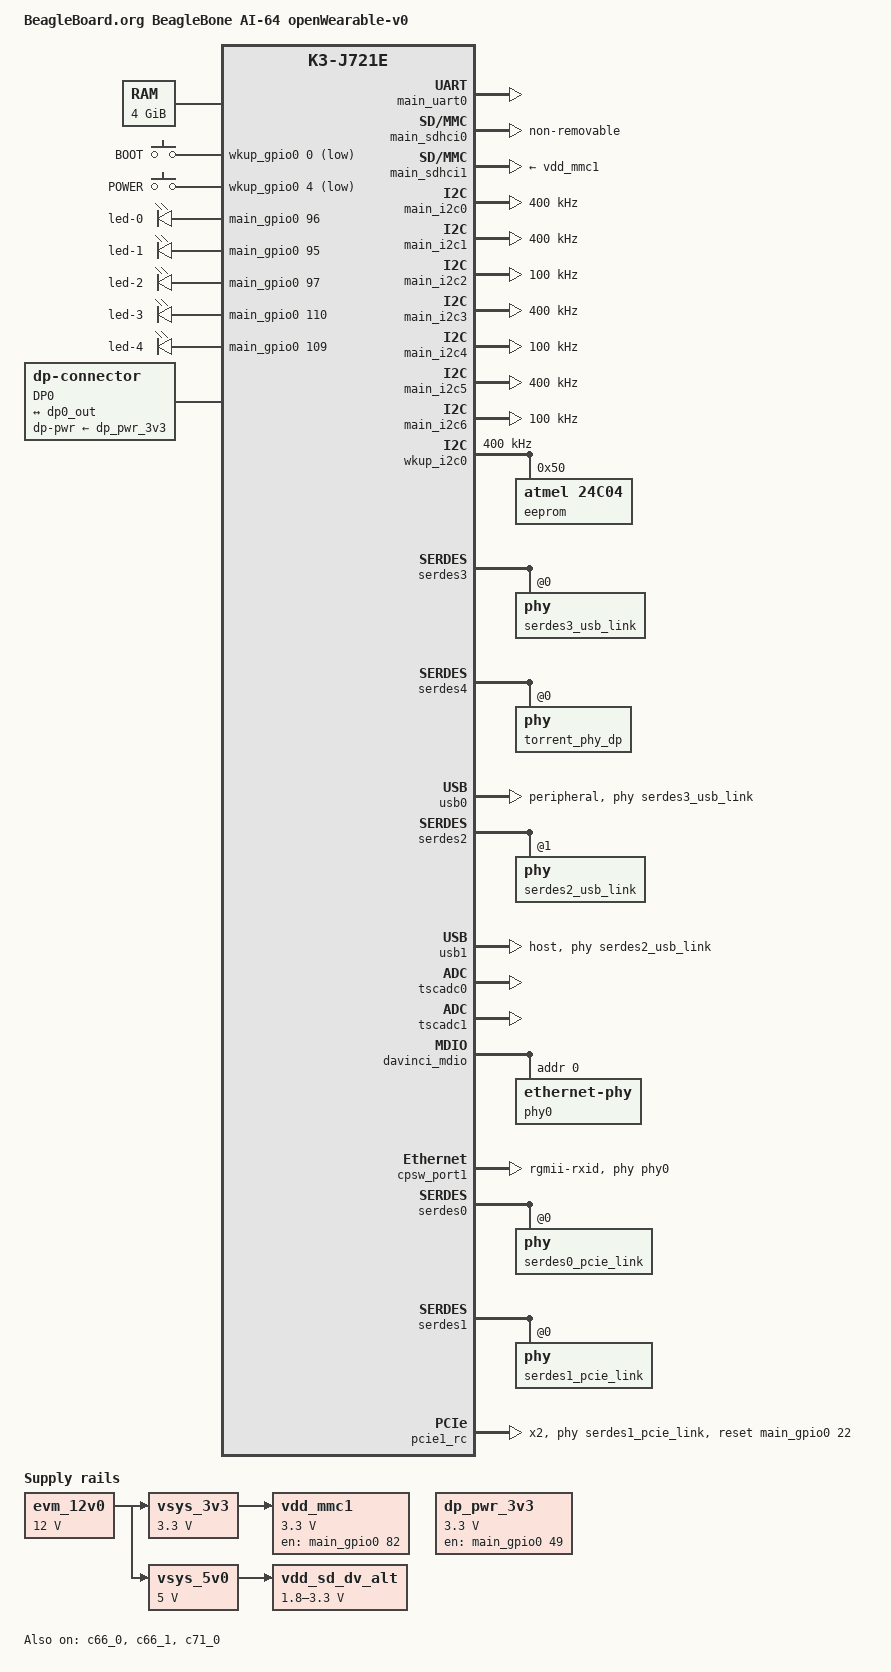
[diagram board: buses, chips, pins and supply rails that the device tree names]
// SPDX-License-Identifier: GPL-2.0-only OR MIT
/*
 * https://beagleboard.org/ai-64
 * Copyright (C) 2022-2024 Texas Instruments Incorporated - https://www.ti.com/
 * Copyright (C) 2022-2024 Jason Kridner, BeagleBoard.org Foundation
 * Copyright (C) 2022-2024 Robert Nelson, BeagleBoard.org Foundation
 */

/dts-v1/;

#include "k3-j721e.dtsi"
#include <dt-bindings/gpio/gpio.h>
#include <dt-bindings/input/input.h>
#include <dt-bindings/leds/common.h>
#include <dt-bindings/net/ti-dp83867.h>
#include <dt-bindings/phy/phy-cadence.h>
#include "k3-j721e-beagleboneai64-pinmux.dtsi"

/ {
	compatible = "beagle,j721e-beagleboneai64", "ti,j721e";
	model = "BeagleBoard.org BeagleBone AI-64 openWearable-v0";

	aliases {
		serial0 = &wkup_uart0;
		serial2 = &main_uart0;
		mmc0 = &main_sdhci0;
		mmc1 = &main_sdhci1;
		i2c0 = &wkup_i2c0;
		i2c1 = &main_i2c6;
		i2c2 = &main_i2c2;
		i2c3 = &main_i2c4;
	};

	chosen {
		stdout-path = "serial2:115200n8";
	};

	memory@80000000 {
		device_type = "memory";
		/* 4G RAM */
		reg = <0x00000000 0x80000000 0x00000000 0x80000000>,
		      <0x00000008 0x80000000 0x00000000 0x80000000>;
	};

	reserved_memory: reserved-memory {
		#address-cells = <2>;
		#size-cells = <2>;
		ranges;

		secure_ddr: optee@9e800000 {
			reg = <0x00 0x9e800000 0x00 0x01800000>;
			no-map;
		};

		mcu_r5fss0_core0_dma_memory_region: r5f-dma-memory@a0000000 {
			compatible = "shared-dma-pool";
			reg = <0x00 0xa0000000 0x00 0x100000>;
			no-map;
		};

		mcu_r5fss0_core0_memory_region: r5f-memory@a0100000 {
			compatible = "shared-dma-pool";
			reg = <0x00 0xa0100000 0x00 0xf00000>;
			no-map;
		};

		mcu_r5fss0_core1_dma_memory_region: r5f-dma-memory@a1000000 {
			compatible = "shared-dma-pool";
			reg = <0x00 0xa1000000 0x00 0x100000>;
			no-map;
		};

		mcu_r5fss0_core1_memory_region: r5f-memory@a1100000 {
			compatible = "shared-dma-pool";
			reg = <0x00 0xa1100000 0x00 0xf00000>;
			no-map;
		};

		main_r5fss0_core0_dma_memory_region: r5f-dma-memory@a2000000 {
			compatible = "shared-dma-pool";
			reg = <0x00 0xa2000000 0x00 0x100000>;
			no-map;
		};

		/* OW R5F (main_r5fss0) carveout. OW firmware runs code from ATCM, so this region
		 * holds only the resource table -- 1 MB (matching the linker CARVEOUT in
		 * R5F_j721e.ld.in) is plenty. The old 31 MB was the vision mcu2_0 .bss map. */
		main_r5fss0_core0_memory_region: r5f-memory@a2100000 {
			compatible = "shared-dma-pool";
			reg = <0x00 0xa2100000 0x00 0x100000>;
			no-map;
		};

		main_r5fss1_core0_dma_memory_region: r5f-dma-memory@a4000000 {
			compatible = "shared-dma-pool";
			reg = <0x00 0xa4000000 0x00 0x100000>;
			no-map;
		};

		main_r5fss1_core0_memory_region: r5f-memory@a4100000 {
			compatible = "shared-dma-pool";
			reg = <0x00 0xa4100000 0x00 0xf00000>;
			no-map;
		};

		main_r5fss1_core1_dma_memory_region: r5f-dma-memory@a5000000 {
			compatible = "shared-dma-pool";
			reg = <0x00 0xa5000000 0x00 0x100000>;
			no-map;
		};

		main_r5fss1_core1_memory_region: r5f-memory@a5100000 {
			compatible = "shared-dma-pool";
			reg = <0x00 0xa5100000 0x00 0xf00000>;
			no-map;
		};

		c66_0_dma_memory_region: c66-dma-memory@a6000000 {
			compatible = "shared-dma-pool";
			reg = <0x00 0xa6000000 0x00 0x100000>;
			no-map;
		};

		c66_0_memory_region: c66-memory@a6100000 {
			compatible = "shared-dma-pool";
			reg = <0x00 0xa6100000 0x00 0xf00000>;
			no-map;
		};

		c66_1_dma_memory_region: c66-dma-memory@a7000000 {
			compatible = "shared-dma-pool";
			reg = <0x00 0xa7000000 0x00 0x100000>;
			no-map;
		};

		c66_1_memory_region: c66-memory@a7100000 {
			compatible = "shared-dma-pool";
			reg = <0x00 0xa7100000 0x00 0xf00000>;
			no-map;
		};

		/*
		 * TIDL NOTE: in the *basic-IPC* map these two A8 carveouts were the C7x's
		 * (stock 9.02 firmware). In the 10.1 vision_apps map the C7x lives at
		 * 0xb2x (see c71_0_*_tidl below) and 0xa8x belongs to **c6x_1** — verified
		 * against the 10.01.00.04 vx_app_rtos_linux_c6x_1.out ELF (resource_table
		 * at 0xa8100000). Relabelled c71_0_* -> c66_0_tidl_* and now referenced by
		 * &c66_0 below. The old a6/a7 c66 pairs are kept (orphaned) as rollback.
		 */
		c66_0_tidl_dma_memory_region: c66-dma-memory@a8000000 {
			compatible = "shared-dma-pool";
			reg = <0x00 0xa8000000 0x00 0x100000>;
			no-map;
		};

		c66_0_tidl_memory_region: c66-memory@a8100000 {
			compatible = "shared-dma-pool";
			reg = <0x00 0xa8100000 0x00 0xf00000>;
			no-map;
		};

		/* c6x_2 in the 10.1 vision_apps map (vx_app_rtos_linux_c6x_2.out links
		 * at 0xa9100000). This 16 MB was previously free Linux RAM. */
		c66_1_tidl_dma_memory_region: c66-dma-memory@a9000000 {
			compatible = "shared-dma-pool";
			reg = <0x00 0xa9000000 0x00 0x100000>;
			no-map;
		};

		c66_1_tidl_memory_region: c66-memory@a9100000 {
			compatible = "shared-dma-pool";
			reg = <0x00 0xa9100000 0x00 0xf00000>;
			no-map;
		};

		/*
		 * TIDL: grown 28 MB -> 32 MB (0x01c00000 -> 0x02000000) to match the
		 * vision_apps IPC-vring region the 10.1 C7x firmware expects. The extra
		 * 4 MB (0xabc00000..0xac000000) was previously free Linux RAM. Makes
		 * 0xaa000000..0xac000000 contiguous up to the new rtos-log region.
		 */
		rtos_ipc_memory_region: ipc-memories@aa000000 {
			reg = <0x00 0xaa000000 0x00 0x02000000>;
			alignment = <0x1000>;
			no-map;
		};

		/* =====================================================================
		 * TIDL / vision_apps C7x carveouts (PSDK 10.01.00.04, J721E).
		 * ADDED block — required for the 10.1 C7x firmware to boot + run TIDL.
		 * Source map: app_mem_map.h (vision_apps platform/j721e/rtos), see
		 * docs/milestone-1-hetero/j721e-visionapps-reserved-memory.dts.
		 * Layout is fully contiguous 0xaa000000 -> 0xd8000000.
		 *
		 *   MUST (boot firmware to heartbeat): rtos-log, tiovx-obj-desc,
		 *        c71_0_dma_tidl, c71_0_tidl  (+ the 32 MB ipc above)
		 *   ALSO for inference (TIDL graph/tensors): app-fileio, tiovx-log-rt,
		 *        vision_apps_shared-memories (dma-heap), c7x_1_scratch + c7x_1_heap (high DDR)
		 *
		 * UPDATE (full fleet): the 10.1 C7x firmware never comes up alone — it
		 * waits for IPC sync with its vision_apps siblings (mcu2_0, mcu2_1,
		 * c6x_1, c6x_2). So those cores now run too, and their per-core DDR
		 * heaps (0xd9.. -> 0xe4.., NOBITS runtime regions from the firmware
		 * ELFs) are reserved below. Inter-core ethernet remains omitted.
		 * ===================================================================== */

		/* remote-core trace log (mmap'd by the A72 tivision_apps runtime) */
		rtos_log_memory_region: rtos-log@ac000000 {
			reg = <0x00 0xac000000 0x00 0x00040000>;	/* 256 KB */
			no-map;
		};

		/* OpenVX object descriptors (non-cached) */
		tiovx_obj_desc_memory_region: tiovx-obj-desc@ac040000 {
			reg = <0x00 0xac040000 0x00 0x03fc0000>;	/* 63.75 MB */
			no-map;
		};

		/* remote-core file I/O */
		app_fileio_memory_region: app-fileio@b0000000 {
			reg = <0x00 0xb0000000 0x00 0x00400000>;	/* 4 MB */
			no-map;
		};

		/* TIOVX runtime log (non-cached) */
		tiovx_log_rt_memory_region: tiovx-log-rt@b0400000 {
			reg = <0x00 0xb0400000 0x00 0x01c00000>;	/* 28 MB */
			no-map;
		};

		/* C7x_1 DMA / IPC */
		c71_0_dma_tidl_memory_region: c71-dma-memory@b2000000 {
			compatible = "shared-dma-pool";
			reg = <0x00 0xb2000000 0x00 0x00100000>;	/* 1 MB */
			no-map;
		};

		/* C7x_1 code + data — the 10.1 firmware LOADs here */
		c71_0_tidl_memory_region: c71-memory@b2100000 {
			compatible = "shared-dma-pool";
			reg = <0x00 0xb2100000 0x00 0x05f00000>;	/* 95 MB */
			no-map;
		};

		/* big shared buffer pool: TIDL tensors / OpenVX graph buffers.
		 * TIDL: exposed as a DMA-HEAP (not a shared-dma-pool) — the vision_apps
		 * runtime allocates its shared buffers from
		 *   /dev/dma_heap/carveout_vision_apps_shared-memories
		 * The heap name is "carveout_" + this node's NAME, so the node MUST be named
		 * exactly "vision_apps_shared-memories" with NO @unit-address (an @addr would
		 * get appended to the heap name and the runtime wouldn't find it).
		 * dma-heap-carveout memory must be mappable, so there is NO no-map here.
		 * Binding verified against TI k3-am62a7-sk.dtb (edgeai_shared-memories).
		 * 512 MB; shrinkable later for a small EMG net. */
		vision_apps_shared_memories: vision_apps_shared-memories {
			compatible = "dma-heap-carveout";
			reg = <0x00 0xb8000000 0x00 0x20000000>;	/* 512 MB, mappable */
		};

		/* Per-core DDR heaps for the vision_apps fleet (10.01.00.04 firmware
		 * ELF ground truth: .bss:ddr_local_mem / ddr_scratch_mem /
		 * ddr_cache_wt_mem). NOBITS — never loaded by remoteproc, used at
		 * runtime by each core directly, so plain no-map reservations (not
		 * attached to any rproc node). Keeps Linux off them. */
		mcu2_0_ddr_local: mcu2-0-ddr-local@d9000000 {
			reg = <0x00 0xd9000000 0x00 0x01000000>;	/* 15 MB local + 1 MB cache-wt */
			no-map;
		};

		mcu2_1_ddr_local: mcu2-1-ddr-local@da000000 {
			reg = <0x00 0xda000000 0x00 0x01000000>;	/* 16 MB */
			no-map;
		};

		c6x_1_ddr_heap: c6x-1-ddr-heap@dc000000 {
			reg = <0x00 0xdc000000 0x00 0x04000000>;	/* 16 MB local + 48 MB scratch */
			no-map;
		};

		c6x_2_ddr_heap: c6x-2-ddr-heap@e0000000 {
			reg = <0x00 0xe0000000 0x00 0x04000000>;	/* 16 MB local + 48 MB scratch */
			no-map;
		};

		/* HIGH DDR (second 2 GB bank). C7x MMU vaddr 0x1_00000000 -> paddr
		 * 0x8_80000000. #address-cells=2 so the hi cell carries the 0x08. */
		c7x_1_scratch_memory_region: c7x-scratch@880000000 {
			reg = <0x08 0x80000000 0x00 0x17000000>;	/* 368 MB */
			no-map;
		};

		c7x_1_heap_memory_region: c7x-heap@897000000 {
			reg = <0x08 0x97000000 0x00 0x10000000>;	/* 256 MB */
			no-map;
		};
	};

	gpio_keys: gpio-keys {
		compatible = "gpio-keys";
		pinctrl-names = "default";
		pinctrl-0 = <&sw_pwr_pins_default>;

		button-1 {
			label = "BOOT";
			linux,code = <BTN_0>;
			gpios = <&wkup_gpio0 0 GPIO_ACTIVE_LOW>;
		};

		button-2 {
			label = "POWER";
			linux,code = <KEY_POWER>;
			gpios = <&wkup_gpio0 4 GPIO_ACTIVE_LOW>;
		};
	};

	leds {
		compatible = "gpio-leds";
		pinctrl-names = "default";
		pinctrl-0 = <&led_pins_default>;

		led-0 {
			gpios = <&main_gpio0 96 GPIO_ACTIVE_HIGH>;
			function = LED_FUNCTION_HEARTBEAT;
			linux,default-trigger = "heartbeat";
		};

		led-1 {
			gpios = <&main_gpio0 95 GPIO_ACTIVE_HIGH>;
			function = LED_FUNCTION_DISK_ACTIVITY;
			linux,default-trigger = "mmc0";
		};

		led-2 {
			gpios = <&main_gpio0 97 GPIO_ACTIVE_HIGH>;
			function = LED_FUNCTION_CPU;
			linux,default-trigger = "cpu";
		};

		led-3 {
			gpios = <&main_gpio0 110 GPIO_ACTIVE_HIGH>;
			function = LED_FUNCTION_DISK_ACTIVITY;
			linux,default-trigger = "mmc1";
		};

		led-4 {
			gpios = <&main_gpio0 109 GPIO_ACTIVE_HIGH>;
			function = LED_FUNCTION_WLAN;
			default-state = "off";
		};
	};

	evm_12v0: regulator-0 {
		/* main supply */
		compatible = "regulator-fixed";
		regulator-name = "evm_12v0";
		regulator-min-microvolt = <12000000>;
		regulator-max-microvolt = <12000000>;
		regulator-always-on;
		regulator-boot-on;
	};

	vsys_3v3: regulator-1 {
		/* Output of LMS140 */
		compatible = "regulator-fixed";
		regulator-name = "vsys_3v3";
		regulator-min-microvolt = <3300000>;
		regulator-max-microvolt = <3300000>;
		vin-supply = <&evm_12v0>;
		regulator-always-on;
		regulator-boot-on;
	};

	vsys_5v0: regulator-2 {
		/* Output of LM5140 */
		compatible = "regulator-fixed";
		regulator-name = "vsys_5v0";
		regulator-min-microvolt = <5000000>;
		regulator-max-microvolt = <5000000>;
		vin-supply = <&evm_12v0>;
		regulator-always-on;
		regulator-boot-on;
	};

	vdd_mmc1: regulator-3 {
		compatible = "regulator-fixed";
		pinctrl-names = "default";
		pinctrl-0 = <&sd_pwr_en_pins_default>;
		regulator-name = "vdd_mmc1";
		regulator-min-microvolt = <3300000>;
		regulator-max-microvolt = <3300000>;
		regulator-boot-on;
		enable-active-high;
		vin-supply = <&vsys_3v3>;
		gpio = <&main_gpio0 82 GPIO_ACTIVE_HIGH>;
	};

	vdd_sd_dv_alt: regulator-4 {
		compatible = "regulator-gpio";
		pinctrl-names = "default";
		pinctrl-0 = <&vdd_sd_dv_alt_pins_default>;
		regulator-name = "tlv71033";
		regulator-min-microvolt = <1800000>;
		regulator-max-microvolt = <3300000>;
		regulator-boot-on;
		vin-supply = <&vsys_5v0>;
		gpios = <&main_gpio0 117 GPIO_ACTIVE_HIGH>;
		states = <1800000 0x0>,
			 <3300000 0x1>;
	};

	dp_pwr_3v3: regulator-5 {
		compatible = "regulator-fixed";
		pinctrl-names = "default";
		pinctrl-0 = <&dp0_3v3_en_pins_default>;
		regulator-name = "dp-pwr";
		regulator-min-microvolt = <3300000>;
		regulator-max-microvolt = <3300000>;
		gpio = <&main_gpio0 49 GPIO_ACTIVE_HIGH>; /* DP0_PWR_SW_EN */
		enable-active-high;
	};

	dp0: connector {
		compatible = "dp-connector";
		label = "DP0";
		type = "full-size";
		dp-pwr-supply = <&dp_pwr_3v3>;

		port {
			dp_connector_in: endpoint {
				remote-endpoint = <&dp0_out>;
			};
		};
	};
};

&main_pmx0 {
	led_pins_default: led-default-pins {
		pinctrl-single,pins = <
			J721E_IOPAD(0x184, PIN_INPUT, 7) /* (T23) RGMII5_RD0.GPIO0_96 */
			J721E_IOPAD(0x180, PIN_INPUT, 7) /* (R23) RGMII5_RD1.GPIO0_95 */
			J721E_IOPAD(0x188, PIN_INPUT, 7) /* (Y28) RGMII6_TX_CTL.GPIO0_97 */
			J721E_IOPAD(0x1bc, PIN_INPUT, 7) /* (V24) MDIO0_MDC.GPIO0_110 */
			J721E_IOPAD(0x1b8, PIN_INPUT, 7) /* (V26) MDIO0_MDIO.GPIO0_109 */
		>;
	};

	main_mmc1_pins_default: main-mmc1-default-pins {
		pinctrl-single,pins = <
			J721E_IOPAD(0x254, PIN_INPUT, 0) /* (R29) MMC1_CMD */
			J721E_IOPAD(0x250, PIN_INPUT, 0) /* (P25) MMC1_CLK */
			J721E_IOPAD(0x2ac, PIN_INPUT, 0) /* (P25) MMC1_CLKLB */
			J721E_IOPAD(0x24c, PIN_INPUT, 0) /* (R24) MMC1_DAT0 */
			J721E_IOPAD(0x248, PIN_INPUT, 0) /* (P24) MMC1_DAT1 */
			J721E_IOPAD(0x244, PIN_INPUT, 0) /* (R25) MMC1_DAT2 */
			J721E_IOPAD(0x240, PIN_INPUT, 0) /* (R26) MMC1_DAT3 */
			J721E_IOPAD(0x258, PIN_INPUT, 0) /* (P23) MMC1_SDCD */
		>;
	};

	main_uart0_pins_default: main-uart0-default-pins {
		pinctrl-single,pins = <
			J721E_IOPAD(0x1e8, PIN_INPUT, 0) /* (AB2) UART0_RXD */
			J721E_IOPAD(0x1ec, PIN_OUTPUT, 0) /* (AB3) UART0_TXD */
		>;
	};

	sd_pwr_en_pins_default: sd-pwr-en-default-pins {
		pinctrl-single,pins = <
			J721E_IOPAD(0x14c, PIN_INPUT, 7) /* (AA29) PRG0_PRU1_GPO19.GPIO0_82 */
		>;
	};

	vdd_sd_dv_alt_pins_default: vdd-sd-dv-alt-default-pins {
		pinctrl-single,pins = <
			J721E_IOPAD(0x1d8, PIN_INPUT, 7) /* (W4) SPI1_CS1.GPIO0_117 */
		>;
	};

	main_usbss0_pins_default: main-usbss0-default-pins {
		pinctrl-single,pins = <
			J721E_IOPAD(0x210, PIN_INPUT, 7) /* (W3) MCAN1_RX.GPIO1_3 - USBC_DIR */
		>;
	};

	main_usbss1_pins_default: main-usbss1-default-pins {
		pinctrl-single,pins = <
			J721E_IOPAD(0x290, INPUT_DISABLE, 1) /* (U6) USB0_DRVVBUS.USB1_DRVVBUS */
		>;
	};

	dp0_3v3_en_pins_default:dp0-3v3-en-default-pins {
		pinctrl-single,pins = <
			J721E_IOPAD(0xc8, PIN_INPUT, 7) /* (AE26) PRG0_PRU0_GPO6.GPIO0_49 */
		>;
	};

	dp0_pins_default: dp0-default-pins {
		pinctrl-single,pins = <
			J721E_IOPAD(0x1c4, PIN_INPUT, 5) /* (Y4) SPI0_CS1.DP0_HPD */
		>;
	};

	main_i2c0_pins_default: main-i2c0-default-pins {
		pinctrl-single,pins = <
			J721E_IOPAD(0x220, PIN_INPUT_PULLUP, 0) /* (AC5) I2C0_SCL */
			J721E_IOPAD(0x224, PIN_INPUT_PULLUP, 0) /* (AA5) I2C0_SDA */
		>;
	};

	main_i2c1_pins_default: main-i2c1-default-pins {
		pinctrl-single,pins = <
			J721E_IOPAD(0x228, PIN_INPUT_PULLUP, 0) /* (Y6) I2C1_SCL */
			J721E_IOPAD(0x22c, PIN_INPUT_PULLUP, 0) /* (AA6) I2C1_SDA */
		>;
	};

	main_i2c2_pins_default: main-i2c2-default-pins {
		pinctrl-single,pins = <
			J721E_IOPAD(0x208, PIN_INPUT_PULLUP, 4) /* (W5) MCAN0_RX.I2C2_SCL */
			J721E_IOPAD(0x20c, PIN_INPUT_PULLUP, 4) /* (W6) MCAN0_TX.I2C2_SDA */
			J721E_IOPAD(0x138, PIN_INPUT, 7) /* (AE25) PRG0_PRU1_GPO14.GPIO0_77 */
			J721E_IOPAD(0x13c, PIN_INPUT, 7) /* (AF29) PRG0_PRU1_GPO15.GPIO0_78 */
		>;
	};

	main_i2c3_pins_default: main-i2c3-default-pins {
		pinctrl-single,pins = <
			J721E_IOPAD(0x270, PIN_INPUT_PULLUP, 4) /* (T26) MMC2_CLK.I2C3_SCL */
			J721E_IOPAD(0x274, PIN_INPUT_PULLUP, 4) /* (T25) MMC2_CMD.I2C3_SDA */
		>;
	};

	main_i2c4_pins_default: main-i2c4-default-pins {
		pinctrl-single,pins = <
			J721E_IOPAD(0x1e0, PIN_INPUT_PULLUP, 2) /* (Y5) SPI1_D0.I2C4_SCL */
			J721E_IOPAD(0x1dc, PIN_INPUT_PULLUP, 2) /* (Y1) SPI1_CLK.I2C4_SDA */
			J721E_IOPAD(0x30, PIN_INPUT, 7) /* (AF24) PRG1_PRU0_GPO11.GPIO0_12 */
			J721E_IOPAD(0x34, PIN_INPUT, 7) /* (AJ24) PRG1_PRU0_GPO12.GPIO0_13 */
		>;
	};

	main_i2c5_pins_default: main-i2c5-default-pins {
		pinctrl-single,pins = <
			J721E_IOPAD(0x150, PIN_INPUT_PULLUP, 2) /* (Y26) PRG0_MDIO0_MDIO.I2C5_SCL */
			J721E_IOPAD(0x154, PIN_INPUT_PULLUP, 2) /* (AA27) PRG0_MDIO0_MDC.I2C5_SDA */
		>;
	};

	main_i2c6_pins_default: main-i2c6-default-pins {
		pinctrl-single,pins = <
			J721E_IOPAD(0x1d0, PIN_INPUT_PULLUP, 2) /* (AA3) SPI0_D1.I2C6_SCL */
			J721E_IOPAD(0x1e4, PIN_INPUT_PULLUP, 2) /* (Y2) SPI1_D1.I2C6_SDA */
			J721E_IOPAD(0x74, PIN_INPUT, 7) /* (AC21) PRG1_PRU1_GPO7.GPIO0_28 */
			J721E_IOPAD(0xa4, PIN_INPUT, 7) /* (AH22) PRG1_PRU1_GPO19.GPIO0_40 */
		>;
	};

	csi0_gpio_pins_default: csi0-gpio-default-pins {
		pinctrl-single,pins = <
			J721E_IOPAD(0x19c, PIN_INPUT_PULLDOWN, 7) /* (W27) RGMII6_TD0.GPIO0_102 */
			J721E_IOPAD(0x1a0, PIN_INPUT_PULLDOWN, 7) /* (W29) RGMII6_TXC.GPIO0_103 */
		>;
	};

	csi1_gpio_pins_default: csi1-gpio-default-pins {
		pinctrl-single,pins = <
			J721E_IOPAD(0x198, PIN_INPUT_PULLDOWN, 7) /* (V25) RGMII6_TD1.GPIO0_101 */
			J721E_IOPAD(0x1b0, PIN_INPUT_PULLDOWN, 7) /* (W24) RGMII6_RD1.GPIO0_107 */
		>;
	};

	pcie1_rst_pins_default: pcie1-rst-default-pins {
		pinctrl-single,pins = <
			J721E_IOPAD(0x5c, PIN_INPUT, 7) /* (AG23) PRG1_PRU1_GPO1.GPIO0_22 */
		>;
	};


  // OpenWearable


};

&wkup_pmx0 {
	eeprom_wp_pins_default: eeprom-wp-default-pins {
		pinctrl-single,pins = <
			J721E_WKUP_IOPAD(0xc4, PIN_OUTPUT_PULLUP, 7) /* (G24) WKUP_GPIO0_5 */
		>;
	};

	mcu_adc0_pins_default: mcu-adc0-default-pins {
		pinctrl-single,pins = <
			J721E_WKUP_IOPAD(0x130, PIN_INPUT, 0) /* (K25) MCU_ADC0_AIN0 */
			J721E_WKUP_IOPAD(0x134, PIN_INPUT, 0) /* (K26) MCU_ADC0_AIN1 */
			J721E_WKUP_IOPAD(0x138, PIN_INPUT, 0) /* (K28) MCU_ADC0_AIN2 */
			J721E_WKUP_IOPAD(0x13c, PIN_INPUT, 0) /* (L28) MCU_ADC0_AIN3 */
			J721E_WKUP_IOPAD(0x140, PIN_INPUT, 0) /* (K24) MCU_ADC0_AIN4 */
			J721E_WKUP_IOPAD(0x144, PIN_INPUT, 0) /* (K27) MCU_ADC0_AIN5 */
			J721E_WKUP_IOPAD(0x148, PIN_INPUT, 0) /* (K29) MCU_ADC0_AIN6 */
		>;
	};

	mcu_adc1_pins_default: mcu-adc1-default-pins {
		pinctrl-single,pins = <
			J721E_WKUP_IOPAD(0x150, PIN_INPUT, 0) /* (N23) MCU_ADC1_AIN0 */
		>;
	};

	mikro_bus_pins_default: mikro-bus-default-pins {
		pinctrl-single,pins = <
			J721E_WKUP_IOPAD(0x108, PIN_INPUT, 7) /* SDAPULLEN (E26) PMIC_POWER_EN0.WKUP_GPIO0_66 */
			J721E_WKUP_IOPAD(0xd4, PIN_INPUT, 7) /* SDA (G26) WKUP_GPIO0_9.MCU_I2C1_SDA */
			J721E_WKUP_IOPAD(0xf4, PIN_INPUT, 7) /* SDA (D25) MCU_I3C0_SDA.WKUP_GPIO0_61 */
			J721E_WKUP_IOPAD(0xd0, PIN_INPUT, 7) /* SCL (G27) WKUP_GPIO0_8.MCU_I2C1_SCL */
			J721E_WKUP_IOPAD(0xf0, PIN_INPUT, 7) /* SCL (D26) MCU_I3C0_SCL.WKUP_GPIO0_60 */

			J721E_WKUP_IOPAD(0xb8, PIN_INPUT, 7) /* MOSI (F28) WKUP_GPIO0_2.MCU_SPI1_D1 */
			J721E_WKUP_IOPAD(0xb4, PIN_INPUT, 7) /* MISO (F25) WKUP_GPIO0_1.MCU_SPI1_D0 */
			J721E_WKUP_IOPAD(0xb0, PIN_INPUT, 7) /* CLK (F26) WKUP_GPIO0_0.MCU_SPI1_CLK */
			J721E_WKUP_IOPAD(0xbc, PIN_INPUT, 7) /* CS (F27) WKUP_GPIO0_3.MCU_SPI1_CS0 */

			J721E_WKUP_IOPAD(0x44, PIN_INPUT, 7) /* RX (G22) MCU_OSPI1_D1.WKUP_GPIO0_33 */
			J721E_WKUP_IOPAD(0x48, PIN_INPUT, 7) /* TX (D23) MCU_OSPI1_D2.WKUP_GPIO0_34 */

			J721E_WKUP_IOPAD(0x4c, PIN_INPUT, 7) /* INT (C23) MCU_OSPI1_D3.WKUP_GPIO0_35 */
			J721E_WKUP_IOPAD(0x54, PIN_INPUT, 7) /* RST (E22) MCU_OSPI1_CSn1.WKUP_GPIO0_37 */
			J721E_WKUP_IOPAD(0xdc, PIN_INPUT, 7) /* PWM (H27) WKUP_GPIO0_11 */
			J721E_WKUP_IOPAD(0xac, PIN_INPUT, 7) /* AN (C29) MCU_MCAN0_RX.WKUP_GPIO0_59 */
		>;
	};

	mcu_cpsw_pins_default: mcu-cpsw-default-pins {
		pinctrl-single,pins = <
			J721E_WKUP_IOPAD(0x84, PIN_INPUT, 0) /* (B24) MCU_RGMII1_RD0 */
			J721E_WKUP_IOPAD(0x80, PIN_INPUT, 0) /* (A24) MCU_RGMII1_RD1 */
			J721E_WKUP_IOPAD(0x7c, PIN_INPUT, 0) /* (D24) MCU_RGMII1_RD2 */
			J721E_WKUP_IOPAD(0x78, PIN_INPUT, 0) /* (A25) MCU_RGMII1_RD3 */
			J721E_WKUP_IOPAD(0x74, PIN_INPUT, 0) /* (C24) MCU_RGMII1_RXC */
			J721E_WKUP_IOPAD(0x5c, PIN_INPUT, 0) /* (C25) MCU_RGMII1_RX_CTL */
			J721E_WKUP_IOPAD(0x6c, PIN_OUTPUT, 0) /* (B25) MCU_RGMII1_TD0 */
			J721E_WKUP_IOPAD(0x68, PIN_OUTPUT, 0) /* (A26) MCU_RGMII1_TD1 */
			J721E_WKUP_IOPAD(0x64, PIN_OUTPUT, 0) /* (A27) MCU_RGMII1_TD2 */
			J721E_WKUP_IOPAD(0x60, PIN_OUTPUT, 0) /* (A28) MCU_RGMII1_TD3 */
			J721E_WKUP_IOPAD(0x70, PIN_OUTPUT, 0) /* (B26) MCU_RGMII1_TXC */
			J721E_WKUP_IOPAD(0x58, PIN_OUTPUT, 0) /* (B27) MCU_RGMII1_TX_CTL */
		>;
	};

	mcu_mdio_pins_default: mcu-mdio1-default-pins {
		pinctrl-single,pins = <
			J721E_WKUP_IOPAD(0x8c, PIN_OUTPUT, 0) /* (F23) MCU_MDIO0_MDC */
			J721E_WKUP_IOPAD(0x88, PIN_INPUT, 0) /* (E23) MCU_MDIO0_MDIO */
		>;
	};

	sw_pwr_pins_default: sw-pwr-default-pins {
		pinctrl-single,pins = <
			J721E_WKUP_IOPAD(0xc0, PIN_INPUT, 7) /* (G25) WKUP_GPIO0_4 */
		>;
	};

	wkup_i2c0_pins_default: wkup-i2c0-default-pins {
		pinctrl-single,pins = <
			J721E_WKUP_IOPAD(0xf8, PIN_INPUT_PULLUP, 0) /* (J25) WKUP_I2C0_SCL */
			J721E_WKUP_IOPAD(0xfc, PIN_INPUT_PULLUP, 0) /* (H24) WKUP_I2C0_SDA */
		>;
	};

	wkup_uart0_pins_default: wkup-uart0-default-pins {
		pinctrl-single,pins = <
			J721E_WKUP_IOPAD(0xa0, PIN_INPUT, 0) /* (J29) WKUP_UART0_RXD */
			J721E_WKUP_IOPAD(0xa4, PIN_OUTPUT, 0) /* (J28) WKUP_UART0_TXD */
		>;
	};

	mcu_usbss1_pins_default: mcu-usbss1-default-pins {
		pinctrl-single,pins = <
			J721E_WKUP_IOPAD(0x3c, PIN_OUTPUT_PULLUP, 5) /* (A23) MCU_OSPI1_LBCLKO.WKUP_GPIO0_30 */
		>;
	};
};

&wkup_uart0 {
	/* Wakeup UART is used by TIFS firmware. */
	status = "reserved";
	pinctrl-names = "default";
	pinctrl-0 = <&wkup_uart0_pins_default>;
};

&main_uart0 {
	status = "okay";
	pinctrl-names = "default";
	pinctrl-0 = <&main_uart0_pins_default>;
	/* Shared with ATF on this platform */
	power-domains = <&k3_pds 146 TI_SCI_PD_SHARED>;
};

&main_sdhci0 {
	/* eMMC */
	status = "okay";
	non-removable;
	ti,driver-strength-ohm = <50>;
	disable-wp;
};

&main_sdhci1 {
	/* SD Card */
	status = "okay";
	vmmc-supply = <&vdd_mmc1>;
	vqmmc-supply = <&vdd_sd_dv_alt>;
	pinctrl-names = "default";
	pinctrl-0 = <&main_mmc1_pins_default>;
	ti,driver-strength-ohm = <50>;
	disable-wp;
};

&main_i2c0 {
	status = "okay";
	pinctrl-names = "default";
	pinctrl-0 = <&main_i2c0_pins_default>;
	clock-frequency = <400000>;
};

&main_i2c1 {
	status = "okay";
	pinctrl-names = "default";
	pinctrl-0 = <&main_i2c1_pins_default>;
	clock-frequency = <400000>;
};

&main_i2c2 {
	/* BBB Header: P9.19 and P9.20 */
	status = "okay";
	pinctrl-names = "default";
	pinctrl-0 = <&main_i2c2_pins_default>;
	clock-frequency = <100000>;
};

&main_i2c3 {
	status = "okay";
	pinctrl-names = "default";
	pinctrl-0 = <&main_i2c3_pins_default>;
	clock-frequency = <400000>;
};

&main_i2c4 {
	/* BBB Header: P9.24 and P9.26 */
	status = "okay";
	pinctrl-names = "default";
	pinctrl-0 = <&main_i2c4_pins_default>;
	clock-frequency = <100000>;
};

&main_i2c5 {
	status = "okay";
	pinctrl-names = "default";
	pinctrl-0 = <&main_i2c5_pins_default>;
	clock-frequency = <400000>;
};

&main_i2c6 {
	/* BBB Header: P9.17 and P9.18 */
	status = "okay";
	pinctrl-names = "default";
	pinctrl-0 = <&main_i2c6_pins_default>;
	clock-frequency = <100000>;
	status = "okay";
};

&wkup_i2c0 {
	status = "okay";
	pinctrl-names = "default";
	pinctrl-0 = <&wkup_i2c0_pins_default>;
	clock-frequency = <400000>;

	eeprom@50 {
		compatible = "atmel,24c04";
		reg = <0x50>;
		pinctrl-names = "default";
		pinctrl-0 = <&eeprom_wp_pins_default>;
	};
};

&wkup_gpio0 {
	status = "okay";
	pinctrl-names = "default";
	pinctrl-0 = <&mcu_adc0_pins_default>, <&mcu_adc1_pins_default>,
		    <&mikro_bus_pins_default>;
};

&main_gpio0 {
	status = "okay";
	pinctrl-names = "default";
	pinctrl-0 = <&csi1_gpio_pins_default>, <&csi0_gpio_pins_default>;
};

&main_gpio1 {
	status = "okay";
};

&usb_serdes_mux {
	idle-states = <1>, <1>; /* USB0 to SERDES3, USB1 to SERDES2 */
};

&serdes_ln_ctrl {
	idle-states = <J721E_SERDES0_LANE0_IP4_UNUSED>, <J721E_SERDES0_LANE1_IP4_UNUSED>,
		      <J721E_SERDES1_LANE0_PCIE1_LANE0>, <J721E_SERDES1_LANE1_PCIE1_LANE1>,
		      <J721E_SERDES2_LANE0_IP1_UNUSED>, <J721E_SERDES2_LANE1_USB3_1>,
		      <J721E_SERDES3_LANE0_USB3_0_SWAP>, <J721E_SERDES3_LANE1_USB3_0>,
		      <J721E_SERDES4_LANE0_EDP_LANE0>, <J721E_SERDES4_LANE1_EDP_LANE1>,
		      <J721E_SERDES4_LANE2_EDP_LANE2>, <J721E_SERDES4_LANE3_EDP_LANE3>;
};

&serdes_wiz3 {
	typec-dir-gpios = <&main_gpio1 3 GPIO_ACTIVE_LOW>;
	typec-dir-debounce-ms = <700>;	/* TUSB321, tCCB_DEFAULT 133 ms */
};

&serdes3 {
	serdes3_usb_link: phy@0 {
		reg = <0>;
		cdns,num-lanes = <2>;
		#phy-cells = <0>;
		cdns,phy-type = <PHY_TYPE_USB3>;
		resets = <&serdes_wiz3 1>, <&serdes_wiz3 2>;
	};
};

&serdes4 {
	torrent_phy_dp: phy@0 {
		reg = <0>;
		resets = <&serdes_wiz4 1>;
		cdns,phy-type = <PHY_TYPE_DP>;
		cdns,num-lanes = <4>;
		cdns,max-bit-rate = <2700>;
		#phy-cells = <0>;
	};
};

&mhdp {
	phys = <&torrent_phy_dp>;
	phy-names = "dpphy";
	pinctrl-names = "default";
	pinctrl-0 = <&dp0_pins_default>;
};

&usbss0 {
	pinctrl-names = "default";
	pinctrl-0 = <&main_usbss0_pins_default>;
	ti,vbus-divider;
};

&usb0 {
	dr_mode = "peripheral";
	maximum-speed = "super-speed";
	phys = <&serdes3_usb_link>;
	phy-names = "cdns3,usb3-phy";
};

&serdes2 {
	serdes2_usb_link: phy@1 {
		reg = <1>;
		cdns,num-lanes = <1>;
		#phy-cells = <0>;
		cdns,phy-type = <PHY_TYPE_USB3>;
		resets = <&serdes_wiz2 2>;
	};
};

&usbss1 {
	pinctrl-names = "default";
	pinctrl-0 = <&main_usbss1_pins_default>, <&mcu_usbss1_pins_default>;
	ti,vbus-divider;
};

&usb1 {
	dr_mode = "host";
	maximum-speed = "super-speed";
	phys = <&serdes2_usb_link>;
	phy-names = "cdns3,usb3-phy";
};

&tscadc0 {
	status = "okay";
	/* BBB Header: P9.39, P9.40, P9.37, P9.38, P9.33, P9.36, P9.35 */
	adc {
		ti,adc-channels = <0 1 2 3 4 5 6>;
	};
};

&tscadc1 {
	status = "okay";
	/* MCU mikroBUS Header J10.1 - MCU_ADC1_AIN0 */
	adc {
		ti,adc-channels = <0>;
	};
};

&mcu_cpsw {
	pinctrl-names = "default";
	pinctrl-0 = <&mcu_cpsw_pins_default>;
};

&davinci_mdio {
	pinctrl-names = "default";
	pinctrl-0 = <&mcu_mdio_pins_default>;

	phy0: ethernet-phy@0 {
		reg = <0>;
		ti,rx-internal-delay = <DP83867_RGMIIDCTL_2_00_NS>;
		ti,fifo-depth = <DP83867_PHYCR_FIFO_DEPTH_4_B_NIB>;
	};
};

&cpsw_port1 {
	phy-mode = "rgmii-rxid";
	phy-handle = <&phy0>;
};

&dss {
	/*
	 * These clock assignments are chosen to enable the following outputs:
	 *
	 * VP0 - DisplayPort SST
	 * VP1 - DPI0
	 * VP2 - DSI
	 * VP3 - DPI1
	 */

	assigned-clocks = <&k3_clks 152 1>,	/* VP 1 pixel clock */
			  <&k3_clks 152 4>,	/* VP 2 pixel clock */
			  <&k3_clks 152 9>,	/* VP 3 pixel clock */
			  <&k3_clks 152 13>;	/* VP 4 pixel clock */
	assigned-clock-parents = <&k3_clks 152 2>,	/* PLL16_HSDIV0 */
				 <&k3_clks 152 6>,	/* PLL19_HSDIV0 */
				 <&k3_clks 152 11>,	/* PLL18_HSDIV0 */
				 <&k3_clks 152 18>;	/* PLL23_HSDIV0 */
};

&dss_ports {
	#address-cells = <1>;
	#size-cells = <0>;

	port@0 {
		reg = <0>;

		dpi0_out: endpoint {
			remote-endpoint = <&dp0_in>;
		};
	};
};

&dp0_ports {
	#address-cells = <1>;
	#size-cells = <0>;

	port@0 {
		reg = <0>;
		dp0_in: endpoint {
			remote-endpoint = <&dpi0_out>;
		};
	};

	port@4 {
		reg = <4>;
		dp0_out: endpoint {
			remote-endpoint = <&dp_connector_in>;
		};
	};
};

&serdes0 {
	serdes0_pcie_link: phy@0 {
		reg = <0>;
		cdns,num-lanes = <1>;
		#phy-cells = <0>;
		cdns,phy-type = <PHY_TYPE_PCIE>;
		resets = <&serdes_wiz0 1>;
	};
};

&serdes1 {
	serdes1_pcie_link: phy@0 {
		reg = <0>;
		cdns,num-lanes = <2>;
		#phy-cells = <0>;
		cdns,phy-type = <PHY_TYPE_PCIE>;
		resets = <&serdes_wiz1 1>, <&serdes_wiz1 2>;
	};
};

&pcie1_rc {
	status = "okay";
	pinctrl-names = "default";
	pinctrl-0 = <&pcie1_rst_pins_default>;
	phys = <&serdes1_pcie_link>;
	phy-names = "pcie-phy";
	num-lanes = <2>;
	max-link-speed = <3>;
	reset-gpios = <&main_gpio0 22 GPIO_ACTIVE_HIGH>;
};

&ufs_wrapper {
	status = "disabled";
};

&mailbox0_cluster0 {
	status = "okay";
	interrupts = <436>;

	mbox_mcu_r5fss0_core0: mbox-mcu-r5fss0-core0 {
		ti,mbox-rx = <0 0 0>;
		ti,mbox-tx = <1 0 0>;
	};

	mbox_mcu_r5fss0_core1: mbox-mcu-r5fss0-core1 {
		ti,mbox-rx = <2 0 0>;
		ti,mbox-tx = <3 0 0>;
	};
};

&mailbox0_cluster1 {
	status = "okay";
	interrupts = <432>;

	mbox_main_r5fss0_core0: mbox-main-r5fss0-core0 {
		ti,mbox-rx = <0 0 0>;
		ti,mbox-tx = <1 0 0>;
	};

	mbox_main_r5fss0_core1: mbox-main-r5fss0-core1 {
		ti,mbox-rx = <2 0 0>;
		ti,mbox-tx = <3 0 0>;
	};
};

&mailbox0_cluster2 {
	status = "okay";
	interrupts = <428>;

	mbox_main_r5fss1_core0: mbox-main-r5fss1-core0 {
		ti,mbox-rx = <0 0 0>;
		ti,mbox-tx = <1 0 0>;
	};

	mbox_main_r5fss1_core1: mbox-main-r5fss1-core1 {
		ti,mbox-rx = <2 0 0>;
		ti,mbox-tx = <3 0 0>;
	};
};

&mailbox0_cluster3 {
	status = "okay";
	interrupts = <424>;

	mbox_c66_0: mbox-c66-0 {
		ti,mbox-rx = <0 0 0>;
		ti,mbox-tx = <1 0 0>;
	};

	mbox_c66_1: mbox-c66-1 {
		ti,mbox-rx = <2 0 0>;
		ti,mbox-tx = <3 0 0>;
	};
};

&mailbox0_cluster4 {
	status = "okay";
	interrupts = <420>;

	mbox_c71_0: mbox-c71-0 {
		ti,mbox-rx = <0 0 0>;
		ti,mbox-tx = <1 0 0>;
	};
};

&mcu_r5fss0_core0 {
	mboxes = <&mailbox0_cluster0 &mbox_mcu_r5fss0_core0>;
	memory-region = <&mcu_r5fss0_core0_dma_memory_region>,
			<&mcu_r5fss0_core0_memory_region>;
};

&mcu_r5fss0_core1 {
	mboxes = <&mailbox0_cluster0 &mbox_mcu_r5fss0_core1>;
	memory-region = <&mcu_r5fss0_core1_dma_memory_region>,
			<&mcu_r5fss0_core1_memory_region>;
};

/* OW: main_r5fss0 runs in LOCKSTEP (the dtsi default). The two cores execute in
 * hardware lockstep as ONE fault-checked rproc -- core0 (5c00000) is the active
 * pair, core1 (5d00000) is the HW slave and does not probe -- the safe default for
 * a wearable control brain. The K3 R5F driver REQUIRES a firmware-name to register
 * the rproc, so core0 boots the OW "park" firmware (j7-r5f0-park-fw.ow, a stub
 * honoring the graceful-stop handshake); the A72 then stops it and loads OW control
 * firmware at runtime. For PARALLEL R5F roles later, bring up main_r5fss1 (2 cores,
 * currently disabled below) rather than splitting this cluster. */
&main_r5fss0 {
	ti,cluster-mode = <1>;	/* 0 = split, 1 = lockstep */
};

&main_r5fss0_core0 {
	/* OW R5F core0 (5c00000) -- the active lockstep core. firmware-name = the OW
	 * "park" firmware (utils/r5f/park -> j7-r5f0-park-fw.ow), a stub honoring the K3
	 * graceful-stop handshake so the A72 can load OW control fw at runtime. */
	firmware-name = "j7-r5f0-park-fw.ow";
	mboxes = <&mailbox0_cluster1 &mbox_main_r5fss0_core0>;
	memory-region = <&main_r5fss0_core0_dma_memory_region>,
			<&main_r5fss0_core0_memory_region>;
};

&main_r5fss0_core1 {
	/* OW R5F core1 (5d00000) -- the HW lockstep SLAVE; not probed in lockstep, so the
	 * firmware-name / memory-region below are inert (kept valid for a clean switch
	 * back to split mode). */
	firmware-name = "j7-r5f1-park-fw.ow";
	mboxes = <&mailbox0_cluster1 &mbox_main_r5fss0_core1>;
	memory-region = <&main_r5fss1_core0_dma_memory_region>,
			<&main_r5fss1_core0_memory_region>;
};

/* OW: main_r5fss1 (mcu3_0/mcu3_1, cores 5e00000/5f00000) is NOT part of the
 * vision_apps fleet (mpu1_0 + mcu2_0 + mcu2_1 + c6x_1 + c6x_2 + c7x_1). mcu2_1's
 * firmware was previously mis-loaded onto 5e00000 here; now that mcu2_1 runs on
 * its native 5d00000 (above), disable this whole cluster so it doesn't probe and
 * can't dual-claim the a4/a5 carveouts mcu2_1 needs. The a4/a5 reserved-memory
 * regions stay reserved and are referenced by main_r5fss0_core1 above. */
&main_r5fss1 {
	status = "disabled";
};

&c66_0 {
	status = "okay";
	mboxes = <&mailbox0_cluster3 &mbox_c66_0>;
	/* TIDL: repointed A6 -> A8 to match the 10.1 vision_apps c6x_1 firmware
	 * load address (was <&c66_0_dma_memory_region>, <&c66_0_memory_region>). */
	memory-region = <&c66_0_tidl_dma_memory_region>,
			<&c66_0_tidl_memory_region>;
};

&c66_1 {
	status = "okay";
	mboxes = <&mailbox0_cluster3 &mbox_c66_1>;
	/* TIDL: repointed A7 -> A9 to match the 10.1 vision_apps c6x_2 firmware
	 * load address (was <&c66_1_dma_memory_region>, <&c66_1_memory_region>). */
	memory-region = <&c66_1_tidl_dma_memory_region>,
			<&c66_1_tidl_memory_region>;
};

&c71_0 {
	status = "okay";
	mboxes = <&mailbox0_cluster4 &mbox_c71_0>;
	/* TIDL: repointed A8 -> B2 to match the 10.1 vision_apps C7x firmware load
	 * address (was <&c71_0_dma_memory_region>, <&c71_0_memory_region>). */
	memory-region = <&c71_0_dma_tidl_memory_region>,
			<&c71_0_tidl_memory_region>;
};

/* SA2UL (saul-crypto) oopses the 6.12.57-ti-arm64-r64 kernel: iwd's AF_ALG
 * hash teardown hits sa_sha_cra_exit -> dma_unmap on a bad address, killing
 * iwd (and wifi) on boot. Disable the HW crypto offload; the A72's ARMv8
 * crypto instructions take over. Nothing in openWearable uses SA2UL. */
&main_crypto {
	status = "disabled";
};

/* DSP-core RTOS tick timers: keep Linux's omap_timer (PWM) driver off them so
 * the TI Device Manager (TIFS) can grant them to the DSP firmware. The stock
 * Beagle DT binds omap_timer to the ENTIRE main DMTimer bank
 * (timer@2400000..24f0000); the A72 thereby owning these timers is what stalls
 * the vision_apps DSP firmware at FreeRTOS scheduler start: TimerP_create() asks
 * DM for an already-A72-owned timer and the C7x hangs in the B005->D000 window
 * (breadcrumb-confirmed for the C7x).
 *
 * Mapping per ti/osal soc/j721e (TimerP_default.c, CSL_TIMER0_CFG_BASE=0x2400000,
 * +0x10000 per instance; OSAL_FREERTOS_OS_TIMER_ID_*):
 *   main_timer0 @0x2400000 = DM Timer 0 -> C66x_1 (c6x_1) tick
 *   main_timer1 @0x2410000 = DM Timer 1 -> C66x_2 (c6x_2) tick
 *   main_timer2 @0x2420000 = DM Timer 2 -> C7x_1  (c71_0) tick   [confirmed hang point]
 * The C7x firmware waits on the c6x_1/c6x_2 fleet, so all three DSP timers must be
 * freed together. The R5F (mcu2_0/2_1) ticks use MCU-domain DM timers 12/13 (a
 * different bank) and already work, so they are left alone. The A72 keeps
 * arch_sys_counter for timekeeping and needs none of these. This mirrors TI's
 * EVM device tree, which reserves the DSP timers from Linux. */
&main_timer0 { status = "reserved"; };
&main_timer1 { status = "reserved"; };
&main_timer2 { status = "reserved"; };

//&icssg0 {
//  status = "okay";
//  pru0_0 {
//    reg = <0x34000 0x3000>,
//          <0x22000 0x100>,
//          <0x22400 0x100>,
//          <0x10000 0x10000>;
//    reg-names = "iram", "control", "debug", "sharedram";
//  };
//};

//&icssg0 {
//  status = "okay";
//  pru0_0 {
//    reg = <0x34000 0x3000>,
//          <0x22000 0x100>,
//          <0x22400 0x100>;
//    reg-names = "iram", "ctrl", "debug";
//  };
//};

//&icssg0 {
//    status = "okay";
//
//    memory-region = <&icssg0_dram0>, <&icssg0_dram1>, <&icssg0_ram_slv_ram>;
//
//    icssg0_dram0: dram0@0 {
//        reg = <0x0 0x2000>;
//    };
//    icssg0_dram1: dram1@2000 {
//        reg = <0x2000 0x2000>;
//    };
//};



